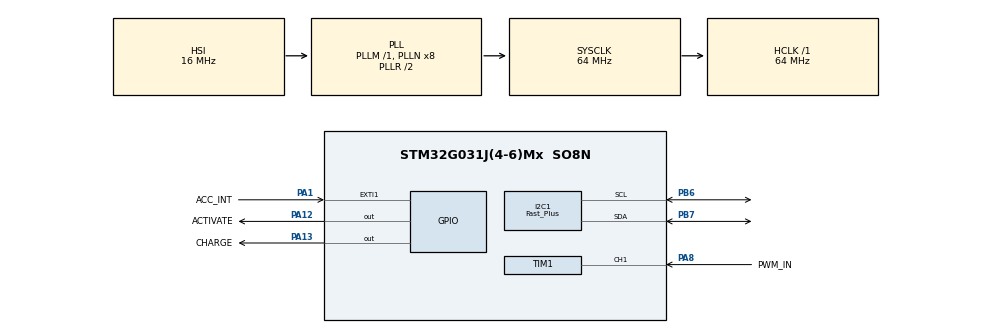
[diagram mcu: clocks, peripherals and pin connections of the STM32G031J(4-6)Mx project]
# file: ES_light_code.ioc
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ADC1.Channel-2\#ChannelRegularConversion=ADC_CHANNEL_TEMPSENSOR
ADC1.Channel-3\#ChannelRegularConversion=ADC_CHANNEL_VREFINT
ADC1.Channel-4\#ChannelRegularConversion=ADC_CHANNEL_VBAT
ADC1.ClockPrescaler=ADC_CLOCK_SYNC_PCLK_DIV2
ADC1.ContinuousConvMode=DISABLE
ADC1.DMAContinuousRequests=ENABLE
ADC1.ExternalTrigConv=ADC_SOFTWARE_START
ADC1.NbrOfConversion=3
ADC1.NbrOfConversionFlag=1
ADC1.Rank-2\#ChannelRegularConversion=1
ADC1.Rank-3\#ChannelRegularConversion=2
ADC1.Rank-4\#ChannelRegularConversion=3
ADC1.Resolution=ADC_RESOLUTION_12B
ADC1.SamplingTime-2\#ChannelRegularConversion=ADC_SAMPLINGTIME_COMMON_1
ADC1.SamplingTime-3\#ChannelRegularConversion=ADC_SAMPLINGTIME_COMMON_1
ADC1.SamplingTime-4\#ChannelRegularConversion=ADC_SAMPLINGTIME_COMMON_1
ADC1.SamplingTimeCommon1=ADC_SAMPLETIME_160CYCLES_5
ADC1.SamplingTimeCommon2=ADC_SAMPLETIME_160CYCLES_5
ADC1.SelectedChannel=ADC_CHANNEL_TEMPSENSOR|ADC_CHANNEL_VREFINT|ADC_CHANNEL_VBAT
ADC1.Sequencer=FULLY_CONFIGURABLE
ADC1.master=1
Dma.ADC1.0.Direction=DMA_PERIPH_TO_MEMORY
Dma.ADC1.0.EventEnable=DISABLE
Dma.ADC1.0.Instance=DMA1_Channel1
Dma.ADC1.0.MemDataAlignment=DMA_MDATAALIGN_HALFWORD
Dma.ADC1.0.MemInc=DMA_MINC_ENABLE
Dma.ADC1.0.Mode=DMA_CIRCULAR
Dma.ADC1.0.PeriphDataAlignment=DMA_PDATAALIGN_HALFWORD
Dma.ADC1.0.PeriphInc=DMA_PINC_DISABLE
Dma.ADC1.0.Polarity=HAL_DMAMUX_REQ_GEN_RISING
Dma.ADC1.0.Priority=DMA_PRIORITY_LOW
Dma.ADC1.0.RequestNumber=1
Dma.ADC1.0.SignalID=NONE
Dma.ADC1.0.SyncEnable=DISABLE
Dma.ADC1.0.SyncPolarity=HAL_DMAMUX_SYNC_NO_EVENT
Dma.ADC1.0.SyncRequestNumber=1
Dma.ADC1.0.SyncSignalID=NONE
Dma.Request0=ADC1
I2C1.I2C_Speed_Mode=I2C_Fast_Plus
I2C1.Timing=0x00300B29
IWDG.Prescaler=IWDG_PRESCALER_256
Mcu.Family=STM32G0
Mcu.Name=STM32G031J(4-6)Mx
Mcu.Package=SO8N
NVIC.DMA1_Channel1_IRQn=true\:0\:0\:false\:false\:true\:false\:true\:true
NVIC.EXTI0_1_IRQn=true\:0\:0\:false\:false\:true\:true\:true\:true
NVIC.TIM14_IRQn=true\:0\:0\:false\:false\:true\:true\:true\:true
NVIC.TIM1_CC_IRQn=true\:0\:0\:false\:false\:true\:true\:true\:true
PA1.GPIO_Label=ACC_INT
PA1.GPIO_ModeDefaultEXTI=GPIO_MODE_IT_RISING
PA1.Signal=GPXTI1
PA12\ [PA10].GPIO_Label=ACTIVATE
PA12\ [PA10].Signal=GPIO_Output
PA13.GPIO_Label=CHARGE
PA13.Signal=GPIO_Output
PA14-BOOT0__PA15__PB5__PB6.StandardMode=true
PA8.GPIO_Label=PWM_IN
PA8.GPIO_PuPd=GPIO_PULLDOWN
PA8.Signal=S_TIM1_CH1
PB0__PB1__PA8__PA11\ [PA9].StandardMode=true
PB6.Mode=I2C
PB6.Signal=I2C1_SCL
PB7.Mode=I2C
PB7.Signal=I2C1_SDA
PC14-OSC32_IN\ (PC14)__PB7__PB8__PB9.StandardMode=true
PF2\ -\ NRST__PA0__PA1__PA2.StandardMode=true
ProjectManager.HeapSize=0x400
ProjectManager.StackSize=0x600
ProjectManager.TargetToolchain=MDK-ARM V5.32
RCC.ADCFreq_Value=64000000
RCC.AHBFreq_Value=64000000
RCC.CortexFreq_Value=64000000
RCC.EXTERNAL_CLOCK_VALUE=12288000
RCC.HCLKFreq_Value=64000000
RCC.HSE_VALUE=8000000
RCC.HSI_VALUE=16000000
RCC.LSE_VALUE=32768
RCC.SYSCLKFreq_VALUE=64000000
RCC.SYSCLKSource=RCC_SYSCLKSOURCE_PLLCLK
RCC.VCOOutputFreq_Value=128000000
SH.S_TIM1_CH1.0=TIM1_CH1,Input_Capture1_from_TI1
TIM1.Channel-Input_Capture1_from_TI1=TIM_CHANNEL_1
TIM1.Channel-Input_Capture2_from_TI1_63=TIM_CHANNEL_2
TIM1.ICPolarity_CH1=TIM_INPUTCHANNELPOLARITY_RISING
TIM1.ICPolarity_CH2=TIM_INPUTCHANNELPOLARITY_FALLING
TIM1.Period=65535
TIM1.Prescaler=64
TIM14.Period=100
TIM14.Prescaler=640
VP_ADC1_TempSens_Input.Mode=IN-TempSens
VP_ADC1_Vbat_Input.Mode=IN-Vbat
VP_ADC1_Vref_Input.Mode=IN-Vrefint
VP_IWDG_VS_IWDG.Mode=IWDG_Activate
VP_TIM14_VS_ClockSourceINT.Mode=Enable_Timer
VP_TIM1_VS_ClockSourceINT.Mode=Internal
VP_TIM1_VS_indirect_ch1.Mode=Input_Capture2_from_TI1_63
board=custom

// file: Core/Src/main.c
/* USER CODE BEGIN Header */
/**
  ******************************************************************************
  * @file           : main.c
  * @brief          : Main program body
  ******************************************************************************
  * @attention
  *
  * Copyright (c) 2023 STMicroelectronics.
  * All rights reserved.
  *
  * This software is licensed under terms that can be found in the LICENSE file
  * in the root directory of this software component.
  * If no LICENSE file comes with this software, it is provided AS-IS.
  *
  ******************************************************************************
  */
/* USER CODE END Header */
#include "main.h"

ADC_HandleTypeDef hadc1;
DMA_HandleTypeDef hdma_adc1;

I2C_HandleTypeDef hi2c1;

IWDG_HandleTypeDef hiwdg;

TIM_HandleTypeDef htim1;
TIM_HandleTypeDef htim14;

void SystemClock_Config(void);
static void MX_GPIO_Init(void);
static void MX_DMA_Init(void);
static void MX_I2C1_Init(void);
static void MX_TIM1_Init(void);
static void MX_TIM14_Init(void);
static void MX_IWDG_Init(void);
static void MX_ADC1_Init(void);
/* USER CODE BEGIN PFP */
__align(4) TS_state_system state_system;
__align(4) TS_state_accel state_accel;
__align(4) TS_state_debug state_debug;
/* USER CODE END PFP */

int main(void)
{

  /* MCU Configuration--------------------------------------------------------*/

  /* Reset of all peripherals, Initializes the Flash interface and the Systick. */
  HAL_Init();

  /* Configure the system clock */
  SystemClock_Config();

  /* USER CODE BEGIN SysInit */
	HAL_Delay(5000);
  /* USER CODE END SysInit */

  /* Initialize all configured peripherals */
  MX_GPIO_Init();
  MX_DMA_Init();
  MX_I2C1_Init();
  MX_TIM1_Init();
  MX_TIM14_Init();
  MX_IWDG_Init();
  MX_ADC1_Init();
  /* USER CODE BEGIN 2 */
	HAL_TIM_Base_Start_IT(&htim14);
	HAL_ADC_Start_DMA(&hadc1,(uint32_t*) &state_system.ADC_Data,3);
	HAL_TIM_IC_Start_IT(&htim1, TIM_CHANNEL_1);
	HAL_TIM_IC_Start_IT(&htim1, TIM_CHANNEL_2);

	state_system.status_init = INIT_ACC_NO;
	state_system.current_step = STEP_INIT_ACCELETOMETER;
	state_system.acceleration = ACCELERATION;
	state_system.wait_command = COMMAND_INIT;
  /* USER CODE END 2 */

  /* Infinite loop */
  /* USER CODE BEGIN WHILE */
  while (1)
  {
		HAL_IWDG_Refresh( & hiwdg);

		if(state_system.flag_check_voltage == 1){
			state_system.flag_check_voltage = 0;
			check_voltage(&state_system);
		}

		if(state_system.flag_new_cmd == 1){
				state_system.flag_new_cmd = 0;
				check_PWM(&state_system);
		}

		//send_debug_data(&hi2c1, &state_system, &state_accel);

		if(state_system.status_init == INIT_ACC){
			if(HAL_OK == MC3416Read(&hi2c1, &state_system, &state_accel)){
				if((fabs(state_accel.Ax) >= state_system.acceleration)||(fabs(state_accel.Ay) >= state_system.acceleration)||(fabs(state_accel.Az) >= state_system.acceleration)){
					if((state_system.step_init == STEP_COMMAND_INIT)&&(state_system.step_ready == STEP_COMMAND_READY)&&(state_system.step_charge == STEP_COMMAND_CHARGE)){
						if(state_system.current_step == STEP_COMMAND_SANCTION){
							if(state_system.status_supercapacitor == CHARGE){
							//	state_system.current_step = STEP_COMMAND_ACTIVATE;
							}
						}
					}
				}
			}
	}

		switch (state_system.current_step) {
			case STEP_INIT_ACCELETOMETER:{
				control_supercapacitor(RESET,&state_system);
				control_explosion(RESET);

				state_system.step_init = STEP_NO;
				state_system.step_ready = STEP_NO;
				state_system.step_charge = STEP_NO;

				if((state_system.status_init == INIT_ACC_NO)||(state_system.status_init == INIT_ACC_ERROR)){
					state_system.status_init = MC34X9_Init(&state_system);
					//state_system.status_init = INIT_ACC;
				}

				if(state_system.status_init == INIT_ACC_ERROR){
					state_system.quantity_attempts_init ++;
					if(state_system.quantity_attempts_init == 5){
						state_system.current_step = STEP_ERROR;
					}
				}
			break;
			}
			case STEP_COMMAND_INIT:{
				state_system.step_init = STEP_COMMAND_INIT;
				state_system.step_ready = STEP_NO;
				state_system.step_charge = STEP_NO;

				control_supercapacitor(RESET,&state_system);
				control_explosion(RESET);

				#ifdef FPV
				state_system.current_step = STEP_COMMAND_READY;
				#endif
			break;
			}
			case STEP_COMMAND_READY:{
				state_system.step_ready = STEP_COMMAND_READY;
				state_system.step_charge = STEP_NO;

				control_supercapacitor(RESET,&state_system);
				control_explosion(RESET);
			break;
			}
			case STEP_COMMAND_CHARGE:{
				state_system.step_charge = STEP_COMMAND_CHARGE;

				if((state_system.status_supercapacitor == DISCHARGE)||(state_system.status_supercapacitor == DISCHARGING)){
					control_supercapacitor(SET,&state_system);
				}
				control_explosion(RESET);

				#ifdef FPV
				state_system.current_step = STEP_COMMAND_SANCTION;
				#endif
			break;
			}
			case STEP_COMMAND_SANCTION:{
				if((state_system.step_init == STEP_COMMAND_INIT)&&(state_system.step_ready == STEP_COMMAND_READY)&&(state_system.step_charge == STEP_COMMAND_CHARGE)){
					control_explosion(RESET);
				}
			break;
			}
			case STEP_COMMAND_ACTIVATE:{
				if((state_system.step_init == STEP_COMMAND_INIT)&&(state_system.step_ready == STEP_COMMAND_READY)&&(state_system.step_charge == STEP_COMMAND_CHARGE)){
					if(state_system.status_supercapacitor == CHARGE){
						control_explosion(SET);
					}
				}
			break;
			case STEP_ERROR:{
				state_system.step_init = STEP_NO;
				state_system.step_ready = STEP_NO;
				state_system.step_charge = STEP_NO;

				control_supercapacitor(RESET,&state_system);
				control_explosion(RESET);
			break;
			}
			default:{
				state_system.current_step = STEP_ERROR;
			break;
			}
		}
	}
    /* USER CODE END WHILE */

  }
}

void SystemClock_Config(void)
{
  RCC_OscInitTypeDef RCC_OscInitStruct = {0};
  RCC_ClkInitTypeDef RCC_ClkInitStruct = {0};

  /** Configure the main internal regulator output voltage
  */
  HAL_PWREx_ControlVoltageScaling(PWR_REGULATOR_VOLTAGE_SCALE1);

  /** Initializes the RCC Oscillators according to the specified parameters
  * in the RCC_OscInitTypeDef structure.
  */
  RCC_OscInitStruct.OscillatorType = RCC_OSCILLATORTYPE_HSI|RCC_OSCILLATORTYPE_LSI;
  RCC_OscInitStruct.HSIState = RCC_HSI_ON;
  RCC_OscInitStruct.HSIDiv = RCC_HSI_DIV1;
  RCC_OscInitStruct.HSICalibrationValue = RCC_HSICALIBRATION_DEFAULT;
  RCC_OscInitStruct.LSIState = RCC_LSI_ON;
  RCC_OscInitStruct.PLL.PLLState = RCC_PLL_ON;
  RCC_OscInitStruct.PLL.PLLSource = RCC_PLLSOURCE_HSI;
  RCC_OscInitStruct.PLL.PLLM = RCC_PLLM_DIV1;
  RCC_OscInitStruct.PLL.PLLN = 8;
  RCC_OscInitStruct.PLL.PLLP = RCC_PLLP_DIV2;
  RCC_OscInitStruct.PLL.PLLQ = RCC_PLLQ_DIV2;
  RCC_OscInitStruct.PLL.PLLR = RCC_PLLR_DIV2;
  if (HAL_RCC_OscConfig(&RCC_OscInitStruct) != HAL_OK)
  {
    Error_Handler();
  }

  /** Initializes the CPU, AHB and APB buses clocks
  */
  RCC_ClkInitStruct.ClockType = RCC_CLOCKTYPE_HCLK|RCC_CLOCKTYPE_SYSCLK
                              |RCC_CLOCKTYPE_PCLK1;
  RCC_ClkInitStruct.SYSCLKSource = RCC_SYSCLKSOURCE_PLLCLK;
  RCC_ClkInitStruct.AHBCLKDivider = RCC_SYSCLK_DIV1;
  RCC_ClkInitStruct.APB1CLKDivider = RCC_HCLK_DIV1;

  if (HAL_RCC_ClockConfig(&RCC_ClkInitStruct, FLASH_LATENCY_2) != HAL_OK)
  {
    Error_Handler();
  }
}

static void MX_ADC1_Init(void)
{

  ADC_ChannelConfTypeDef sConfig = {0};

  /** Configure the global features of the ADC (Clock, Resolution, Data Alignment and number of conversion)
  */
  hadc1.Instance = ADC1;
  hadc1.Init.ClockPrescaler = ADC_CLOCK_SYNC_PCLK_DIV2;
  hadc1.Init.Resolution = ADC_RESOLUTION_12B;
  hadc1.Init.DataAlign = ADC_DATAALIGN_RIGHT;
  hadc1.Init.ScanConvMode = ADC_SCAN_ENABLE;
  hadc1.Init.EOCSelection = ADC_EOC_SINGLE_CONV;
  hadc1.Init.LowPowerAutoWait = DISABLE;
  hadc1.Init.LowPowerAutoPowerOff = DISABLE;
  hadc1.Init.ContinuousConvMode = DISABLE;
  hadc1.Init.NbrOfConversion = 3;
  hadc1.Init.DiscontinuousConvMode = DISABLE;
  hadc1.Init.ExternalTrigConv = ADC_SOFTWARE_START;
  hadc1.Init.ExternalTrigConvEdge = ADC_EXTERNALTRIGCONVEDGE_NONE;
  hadc1.Init.DMAContinuousRequests = ENABLE;
  hadc1.Init.Overrun = ADC_OVR_DATA_PRESERVED;
  hadc1.Init.SamplingTimeCommon1 = ADC_SAMPLETIME_160CYCLES_5;
  hadc1.Init.SamplingTimeCommon2 = ADC_SAMPLETIME_160CYCLES_5;
  hadc1.Init.OversamplingMode = DISABLE;
  hadc1.Init.TriggerFrequencyMode = ADC_TRIGGER_FREQ_HIGH;
  if (HAL_ADC_Init(&hadc1) != HAL_OK)
  {
    Error_Handler();
  }

  /** Configure Regular Channel
  */
  sConfig.Channel = ADC_CHANNEL_TEMPSENSOR;
  sConfig.Rank = ADC_REGULAR_RANK_1;
  sConfig.SamplingTime = ADC_SAMPLINGTIME_COMMON_1;
  if (HAL_ADC_ConfigChannel(&hadc1, &sConfig) != HAL_OK)
  {
    Error_Handler();
  }

  /** Configure Regular Channel
  */
  sConfig.Channel = ADC_CHANNEL_VREFINT;
  sConfig.Rank = ADC_REGULAR_RANK_2;
  if (HAL_ADC_ConfigChannel(&hadc1, &sConfig) != HAL_OK)
  {
    Error_Handler();
  }

  /** Configure Regular Channel
  */
  sConfig.Channel = ADC_CHANNEL_VBAT;
  sConfig.Rank = ADC_REGULAR_RANK_3;
  if (HAL_ADC_ConfigChannel(&hadc1, &sConfig) != HAL_OK)
  {
    Error_Handler();
  }

}

static void MX_I2C1_Init(void)
{

  hi2c1.Instance = I2C1;
  hi2c1.Init.Timing = 0x00300B29;
  hi2c1.Init.OwnAddress1 = 0;
  hi2c1.Init.AddressingMode = I2C_ADDRESSINGMODE_7BIT;
  hi2c1.Init.DualAddressMode = I2C_DUALADDRESS_DISABLE;
  hi2c1.Init.OwnAddress2 = 0;
  hi2c1.Init.OwnAddress2Masks = I2C_OA2_NOMASK;
  hi2c1.Init.GeneralCallMode = I2C_GENERALCALL_DISABLE;
  hi2c1.Init.NoStretchMode = I2C_NOSTRETCH_DISABLE;
  if (HAL_I2C_Init(&hi2c1) != HAL_OK)
  {
    Error_Handler();
  }

  /** Configure Analogue filter
  */
  if (HAL_I2CEx_ConfigAnalogFilter(&hi2c1, I2C_ANALOGFILTER_ENABLE) != HAL_OK)
  {
    Error_Handler();
  }

  /** Configure Digital filter
  */
  if (HAL_I2CEx_ConfigDigitalFilter(&hi2c1, 0) != HAL_OK)
  {
    Error_Handler();
  }

  /** I2C Fast mode Plus enable
  */
  HAL_I2CEx_EnableFastModePlus(I2C_FASTMODEPLUS_I2C1);

}

static void MX_IWDG_Init(void)
{

  hiwdg.Instance = IWDG;
  hiwdg.Init.Prescaler = IWDG_PRESCALER_256;
  hiwdg.Init.Window = 4095;
  hiwdg.Init.Reload = 4095;
  if (HAL_IWDG_Init(&hiwdg) != HAL_OK)
  {
    Error_Handler();
  }

}

static void MX_TIM1_Init(void)
{

  TIM_ClockConfigTypeDef sClockSourceConfig = {0};
  TIM_MasterConfigTypeDef sMasterConfig = {0};
  TIM_IC_InitTypeDef sConfigIC = {0};

  htim1.Instance = TIM1;
  htim1.Init.Prescaler = 64;
  htim1.Init.CounterMode = TIM_COUNTERMODE_UP;
  htim1.Init.Period = 65535;
  htim1.Init.ClockDivision = TIM_CLOCKDIVISION_DIV1;
  htim1.Init.RepetitionCounter = 0;
  htim1.Init.AutoReloadPreload = TIM_AUTORELOAD_PRELOAD_DISABLE;
  if (HAL_TIM_Base_Init(&htim1) != HAL_OK)
  {
    Error_Handler();
  }
  sClockSourceConfig.ClockSource = TIM_CLOCKSOURCE_INTERNAL;
  if (HAL_TIM_ConfigClockSource(&htim1, &sClockSourceConfig) != HAL_OK)
  {
    Error_Handler();
  }
  if (HAL_TIM_IC_Init(&htim1) != HAL_OK)
  {
    Error_Handler();
  }
  sMasterConfig.MasterOutputTrigger = TIM_TRGO_RESET;
  sMasterConfig.MasterOutputTrigger2 = TIM_TRGO2_RESET;
  sMasterConfig.MasterSlaveMode = TIM_MASTERSLAVEMODE_DISABLE;
  if (HAL_TIMEx_MasterConfigSynchronization(&htim1, &sMasterConfig) != HAL_OK)
  {
    Error_Handler();
  }
  sConfigIC.ICPolarity = TIM_INPUTCHANNELPOLARITY_RISING;
  sConfigIC.ICSelection = TIM_ICSELECTION_DIRECTTI;
  sConfigIC.ICPrescaler = TIM_ICPSC_DIV1;
  sConfigIC.ICFilter = 0;
  if (HAL_TIM_IC_ConfigChannel(&htim1, &sConfigIC, TIM_CHANNEL_1) != HAL_OK)
  {
    Error_Handler();
  }
  sConfigIC.ICPolarity = TIM_INPUTCHANNELPOLARITY_FALLING;
  sConfigIC.ICSelection = TIM_ICSELECTION_INDIRECTTI;
  if (HAL_TIM_IC_ConfigChannel(&htim1, &sConfigIC, TIM_CHANNEL_2) != HAL_OK)
  {
    Error_Handler();
  }

}

static void MX_TIM14_Init(void)
{

  htim14.Instance = TIM14;
  htim14.Init.Prescaler = 640;
  htim14.Init.CounterMode = TIM_COUNTERMODE_UP;
  htim14.Init.Period = 100;
  htim14.Init.ClockDivision = TIM_CLOCKDIVISION_DIV1;
  htim14.Init.AutoReloadPreload = TIM_AUTORELOAD_PRELOAD_DISABLE;
  if (HAL_TIM_Base_Init(&htim14) != HAL_OK)
  {
    Error_Handler();
  }

}

static void MX_DMA_Init(void)
{

  /* DMA controller clock enable */
  __HAL_RCC_DMA1_CLK_ENABLE();

  /* DMA interrupt init */
  /* DMA1_Channel1_IRQn interrupt configuration */
  HAL_NVIC_SetPriority(DMA1_Channel1_IRQn, 0, 0);
  HAL_NVIC_EnableIRQ(DMA1_Channel1_IRQn);

}

static void MX_GPIO_Init(void)
{
  GPIO_InitTypeDef GPIO_InitStruct = {0};

  /* GPIO Ports Clock Enable */
  __HAL_RCC_GPIOB_CLK_ENABLE();
  __HAL_RCC_GPIOA_CLK_ENABLE();

  /*Configure GPIO pin Output Level */
  HAL_GPIO_WritePin(GPIOA, ACTIVATE_Pin|CHARGE_Pin, GPIO_PIN_RESET);

  /*Configure GPIO pin : ACC_INT_Pin */
  GPIO_InitStruct.Pin = ACC_INT_Pin;
  GPIO_InitStruct.Mode = GPIO_MODE_IT_RISING;
  GPIO_InitStruct.Pull = GPIO_NOPULL;
  HAL_GPIO_Init(ACC_INT_GPIO_Port, &GPIO_InitStruct);

  /*Configure GPIO pins : ACTIVATE_Pin CHARGE_Pin */
  GPIO_InitStruct.Pin = ACTIVATE_Pin|CHARGE_Pin;
  GPIO_InitStruct.Mode = GPIO_MODE_OUTPUT_PP;
  GPIO_InitStruct.Pull = GPIO_NOPULL;
  GPIO_InitStruct.Speed = GPIO_SPEED_FREQ_LOW;
  HAL_GPIO_Init(GPIOA, &GPIO_InitStruct);

  /* EXTI interrupt init*/
  HAL_NVIC_SetPriority(EXTI0_1_IRQn, 0, 0);
  HAL_NVIC_EnableIRQ(EXTI0_1_IRQn);

}

void Error_Handler(void)
{
  __disable_irq();
  while (1)
  {
  }
}
